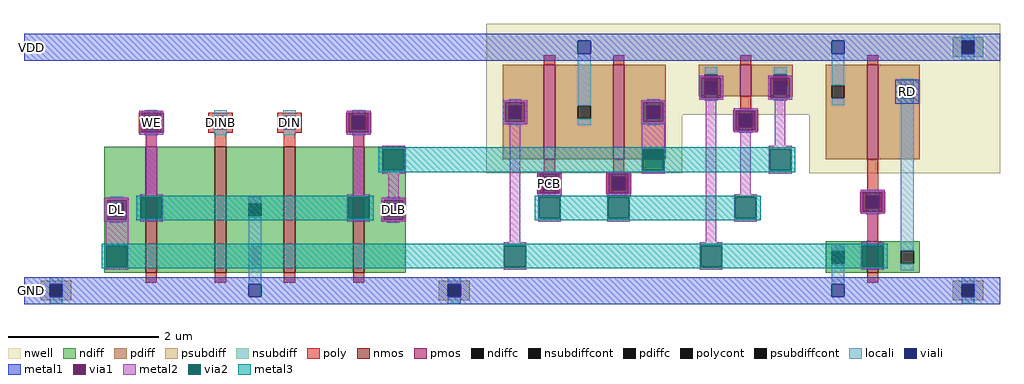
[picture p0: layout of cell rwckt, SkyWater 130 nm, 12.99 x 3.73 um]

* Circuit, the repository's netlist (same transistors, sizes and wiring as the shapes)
.subckt rwckt dl dlb we din dinb pcb rd vdd vss
XXPD1 dl pcb vdd vdd sky130_fd_pr__pfet_01v8 L=0.15 W=1.26 nf=1 m=1
XXPD2 dlb pcb vdd vdd sky130_fd_pr__pfet_01v8 L=0.15 W=1.26 nf=1 m=1
XXPE dl pcb dlb vdd sky130_fd_pr__pfet_01v8 L=0.15 W=0.42 nf=1 m=1
XXW1 dl we w1 vss sky130_fd_pr__nfet_01v8 L=0.15 W=1.68 nf=1 m=1
XXW2 w1 dinb vss vss sky130_fd_pr__nfet_01v8 L=0.15 W=1.68 nf=1 m=1
XXW3 dlb we w2 vss sky130_fd_pr__nfet_01v8 L=0.15 W=1.68 nf=1 m=1
XXW4 w2 din vss vss sky130_fd_pr__nfet_01v8 L=0.15 W=1.68 nf=1 m=1
XXSA_XP rd dl vdd vdd sky130_fd_pr__pfet_01v8 L=0.15 W=1.26 nf=1 m=1
XXSA_XN rd dl vss vss sky130_fd_pr__nfet_01v8 L=0.15 W=0.42 nf=1 m=1
.ends

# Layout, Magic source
magic
tech sky130A
magscale 1 2
<< nwell >>
rect 2428 313 2598 440
<< locali >>
rect 506 430 540 464
rect 690 430 724 464
<< viali >>
rect 1812 523 1846 557
rect 1996 523 2030 557
rect 322 430 356 464
rect 874 430 908 464
rect 1290 458 1324 492
rect 1658 458 1692 492
rect 1904 436 1938 470
rect 1382 268 1416 302
rect 1566 268 1600 302
rect 230 198 264 232
rect 966 198 1000 232
rect 2242 219 2276 253
<< metal1 >>
rect 3 631 37 665
rect 1797 566 1861 572
rect 1797 514 1803 566
rect 1855 514 1861 566
rect 1797 508 1861 514
rect 1981 566 2045 572
rect 1981 514 1987 566
rect 2039 514 2045 566
rect 1981 508 2045 514
rect 2334 512 2368 546
rect 1275 501 1339 507
rect 307 473 371 479
rect 307 421 313 473
rect 365 421 371 473
rect 307 415 371 421
rect 859 473 923 479
rect 859 421 865 473
rect 917 421 923 473
rect 1275 449 1281 501
rect 1333 449 1339 501
rect 1275 443 1339 449
rect 1643 501 1707 507
rect 1643 449 1649 501
rect 1701 449 1707 501
rect 1643 443 1707 449
rect 1889 479 1953 485
rect 1889 427 1895 479
rect 1947 427 1953 479
rect 1889 421 1953 427
rect 859 415 923 421
rect 1367 311 1431 317
rect 1367 259 1373 311
rect 1425 259 1431 311
rect 1367 253 1431 259
rect 1551 311 1615 317
rect 1551 259 1557 311
rect 1609 259 1615 311
rect 1551 253 1615 259
rect 2227 262 2291 268
rect 215 241 279 247
rect 215 189 221 241
rect 273 189 279 241
rect 215 183 279 189
rect 951 241 1015 247
rect 951 189 957 241
rect 1009 189 1015 241
rect 2227 210 2233 262
rect 2285 210 2291 262
rect 2227 204 2291 210
rect 951 183 1015 189
rect 3 -17 37 17
<< via1 >>
rect 1803 557 1855 566
rect 1803 523 1812 557
rect 1812 523 1846 557
rect 1846 523 1855 557
rect 1803 514 1855 523
rect 1987 557 2039 566
rect 1987 523 1996 557
rect 1996 523 2030 557
rect 2030 523 2039 557
rect 1987 514 2039 523
rect 313 464 365 473
rect 313 430 322 464
rect 322 430 356 464
rect 356 430 365 464
rect 313 421 365 430
rect 865 464 917 473
rect 865 430 874 464
rect 874 430 908 464
rect 908 430 917 464
rect 865 421 917 430
rect 1281 492 1333 501
rect 1281 458 1290 492
rect 1290 458 1324 492
rect 1324 458 1333 492
rect 1281 449 1333 458
rect 1649 492 1701 501
rect 1649 458 1658 492
rect 1658 458 1692 492
rect 1692 458 1701 492
rect 1649 449 1701 458
rect 1895 470 1947 479
rect 1895 436 1904 470
rect 1904 436 1938 470
rect 1938 436 1947 470
rect 1895 427 1947 436
rect 1373 302 1425 311
rect 1373 268 1382 302
rect 1382 268 1416 302
rect 1416 268 1425 302
rect 1373 259 1425 268
rect 1557 302 1609 311
rect 1557 268 1566 302
rect 1566 268 1600 302
rect 1600 268 1609 302
rect 1557 259 1609 268
rect 221 232 273 241
rect 221 198 230 232
rect 230 198 264 232
rect 264 198 273 232
rect 221 189 273 198
rect 957 232 1009 241
rect 957 198 966 232
rect 966 198 1000 232
rect 1000 198 1009 232
rect 957 189 1009 198
rect 2233 253 2285 262
rect 2233 219 2242 253
rect 2242 219 2276 253
rect 2276 219 2285 253
rect 2233 210 2285 219
<< metal2 >>
rect 1797 566 1861 572
rect 1797 514 1803 566
rect 1855 514 1861 566
rect 1797 508 1861 514
rect 1981 566 2045 572
rect 1981 514 1987 566
rect 2039 514 2045 566
rect 1981 508 2045 514
rect 1275 501 1339 507
rect 307 473 371 479
rect 307 421 313 473
rect 365 421 371 473
rect 307 415 371 421
rect 859 473 923 479
rect 859 421 865 473
rect 917 421 923 473
rect 1275 449 1281 501
rect 1333 449 1339 501
rect 1275 443 1339 449
rect 1643 501 1707 507
rect 1643 449 1649 501
rect 1701 449 1707 501
rect 1643 443 1707 449
rect 859 415 923 421
rect 325 257 353 415
rect 877 257 905 415
rect 953 376 1013 385
rect 953 320 955 376
rect 1011 320 1013 376
rect 953 311 1013 320
rect 309 248 369 257
rect 215 241 279 247
rect 215 189 221 241
rect 273 189 279 241
rect 215 183 279 189
rect 309 192 311 248
rect 367 192 369 248
rect 309 183 369 192
rect 861 248 921 257
rect 861 192 863 248
rect 919 192 921 248
rect 969 247 997 311
rect 861 183 921 192
rect 951 241 1015 247
rect 951 189 957 241
rect 1009 189 1015 241
rect 951 183 1015 189
rect 217 120 277 183
rect 1293 129 1321 443
rect 1645 376 1705 443
rect 1645 320 1647 376
rect 1703 320 1705 376
rect 1367 311 1431 317
rect 1367 259 1373 311
rect 1425 259 1431 311
rect 1367 253 1431 259
rect 1551 311 1615 317
rect 1645 311 1705 320
rect 1551 259 1557 311
rect 1609 259 1615 311
rect 1551 253 1615 259
rect 1369 248 1429 253
rect 1369 192 1371 248
rect 1427 192 1429 248
rect 1369 183 1429 192
rect 1553 248 1613 253
rect 1553 192 1555 248
rect 1611 192 1613 248
rect 1553 183 1613 192
rect 1815 129 1843 508
rect 1889 479 1953 485
rect 1889 427 1895 479
rect 1947 427 1953 479
rect 1889 421 1953 427
rect 1907 257 1935 421
rect 1999 385 2027 508
rect 1983 376 2043 385
rect 1983 320 1985 376
rect 2041 320 2043 376
rect 1983 311 2043 320
rect 2227 262 2291 268
rect 1891 248 1951 257
rect 1891 192 1893 248
rect 1949 192 1951 248
rect 2227 210 2233 262
rect 2285 210 2291 262
rect 2227 204 2291 210
rect 1891 183 1951 192
rect 2245 129 2273 204
rect 217 64 219 120
rect 275 64 277 120
rect 217 55 277 64
rect 1277 120 1337 129
rect 1277 64 1279 120
rect 1335 64 1337 120
rect 1277 55 1337 64
rect 1799 120 1859 129
rect 1799 64 1801 120
rect 1857 64 1859 120
rect 1799 55 1859 64
rect 2229 120 2289 129
rect 2229 64 2231 120
rect 2287 64 2289 120
rect 2229 55 2289 64
<< via2 >>
rect 955 320 1011 376
rect 311 192 367 248
rect 863 192 919 248
rect 1647 320 1703 376
rect 1371 192 1427 248
rect 1555 192 1611 248
rect 1985 320 2041 376
rect 1893 192 1949 248
rect 219 64 275 120
rect 1279 64 1335 120
rect 1801 64 1857 120
rect 2231 64 2287 120
<< metal3 >>
rect 943 376 2053 381
rect 943 320 955 376
rect 1011 320 1647 376
rect 1703 320 1985 376
rect 2041 320 2053 376
rect 943 315 2053 320
rect 299 248 931 253
rect 299 192 311 248
rect 367 192 863 248
rect 919 192 931 248
rect 299 187 931 192
rect 1359 248 1961 253
rect 1359 192 1371 248
rect 1427 192 1555 248
rect 1611 192 1893 248
rect 1949 192 1961 248
rect 1359 187 1961 192
rect 207 120 2299 125
rect 207 64 219 120
rect 275 64 1279 120
rect 1335 64 1801 120
rect 1857 64 2231 120
rect 2287 64 2299 120
rect 207 59 2299 64
use rw_eq  e
transform 1 0 1752 0 1 0
box 0 -36 338 710
use rw_pre  p
transform 1 0 1230 0 1 0
box 0 -36 522 710
use rw_sa  s
transform 1 0 2090 0 1 0
box 0 -36 338 710
use ptap  t
transform 1 0 0 0 1 0
box 0 -36 170 684
use ptap  t2
transform 1 0 1060 0 1 0
box 0 -36 170 684
use tap  t3
transform 1 0 2428 0 1 0
box 0 -36 170 710
use rw_wr  w
transform 1 0 170 0 1 0
box 0 -36 890 684
<< labels >>
rlabel locali 707 447 707 447 0 DIN
port 1 nsew
rlabel locali 523 447 523 447 0 DINB
port 2 nsew
rlabel metal1 2351 529 2351 529 0 RD
port 3 nsew
rlabel viali 247 215 247 215 0 DL
port 4 nsew
rlabel viali 983 215 983 215 0 DLB
port 5 nsew
rlabel viali 339 447 339 447 0 WE
port 6 nsew
rlabel viali 1399 285 1399 285 0 PCB
port 7 nsew
rlabel metal1 20 648 20 648 0 VDD
port 8 nsew
rlabel metal1 20 0 20 0 0 GND
port 9 nsew
<< end >>

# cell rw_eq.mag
magic
tech sky130A
magscale 1 2
<< nwell >>
rect 0 468 338 710
<< pmos >>
rect 154 517 184 601
<< pdiff >>
rect 44 576 154 601
rect 44 542 60 576
rect 94 542 154 576
rect 44 517 154 542
rect 184 576 294 601
rect 184 542 244 576
rect 278 542 294 576
rect 184 517 294 542
<< pdiffc >>
rect 60 542 94 576
rect 244 542 278 576
<< poly >>
rect 154 601 184 627
rect 154 480 184 517
rect 136 470 202 480
rect 136 436 152 470
rect 186 436 202 470
rect 136 426 202 436
<< polycont >>
rect 152 436 186 470
<< locali >>
rect 60 576 94 594
rect 60 505 94 542
rect 244 576 278 594
rect 244 505 278 542
rect 152 470 186 486
rect 152 420 186 436
<< metal1 >>
rect 0 612 338 684
rect 0 -36 338 36
<< labels >>
rlabel polycont 169 453 169 453 0 PCB
port 1 nsew
rlabel locali 77 540 77 540 0 DL
port 2 nsew
rlabel locali 261 540 261 540 0 DLB
port 3 nsew
rlabel metal1 20 648 20 648 0 VDD
port 4 nsew
rlabel metal1 20 0 20 0 0 GND
port 5 nsew
<< end >>

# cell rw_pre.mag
magic
tech sky130A
magscale 1 2
<< nwell >>
rect 0 313 522 710
<< pmos >>
rect 154 349 184 601
rect 338 349 368 601
<< pdiff >>
rect 44 492 154 601
rect 44 458 60 492
rect 94 458 154 492
rect 44 349 154 458
rect 184 492 338 601
rect 184 458 244 492
rect 278 458 338 492
rect 184 349 338 458
rect 368 492 478 601
rect 368 458 428 492
rect 462 458 478 492
rect 368 349 478 458
<< pdiffc >>
rect 60 458 94 492
rect 244 458 278 492
rect 428 458 462 492
<< poly >>
rect 154 601 184 627
rect 338 601 368 627
rect 154 312 184 349
rect 338 312 368 349
rect 136 302 202 312
rect 136 268 152 302
rect 186 268 202 302
rect 136 258 202 268
rect 320 302 386 312
rect 320 268 336 302
rect 370 268 386 302
rect 320 258 386 268
<< polycont >>
rect 152 268 186 302
rect 336 268 370 302
<< locali >>
rect 60 492 94 510
rect 60 440 94 458
rect 244 492 278 631
rect 244 440 278 458
rect 428 492 462 510
rect 428 440 462 458
rect 152 302 186 318
rect 152 252 186 268
rect 336 302 370 318
rect 336 252 370 268
<< viali >>
rect 244 631 278 665
<< metal1 >>
rect 0 665 522 684
rect 0 631 244 665
rect 278 631 522 665
rect 0 612 522 631
rect 0 -36 522 36
<< labels >>
rlabel polycont 169 285 169 285 0 PCB
port 1 nsew
rlabel polycont 353 285 353 285 0 PCB
port 1 nsew
rlabel pdiffc 77 475 77 475 0 DL
port 2 nsew
rlabel pdiffc 445 475 445 475 0 DLB
port 3 nsew
rlabel metal1 20 648 20 648 0 VDD
port 4 nsew
rlabel metal1 20 0 20 0 0 GND
port 5 nsew
<< end >>

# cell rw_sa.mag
magic
tech sky130A
magscale 1 2
<< nwell >>
rect 0 313 338 710
<< nmos >>
rect 154 47 184 131
<< pmos >>
rect 154 349 184 601
<< ndiff >>
rect 44 106 154 131
rect 44 72 60 106
rect 94 72 154 106
rect 44 47 154 72
rect 184 106 294 131
rect 184 72 244 106
rect 278 72 294 106
rect 184 47 294 72
<< pdiff >>
rect 44 546 154 601
rect 44 512 60 546
rect 94 512 154 546
rect 44 349 154 512
rect 184 546 294 601
rect 184 512 244 546
rect 278 512 294 546
rect 184 349 294 512
<< ndiffc >>
rect 60 72 94 106
rect 244 72 278 106
<< pdiffc >>
rect 60 512 94 546
rect 244 512 278 546
<< poly >>
rect 154 601 184 627
rect 154 263 184 349
rect 136 253 202 263
rect 136 219 152 253
rect 186 219 202 253
rect 136 209 202 219
rect 154 131 184 209
rect 154 21 184 47
<< polycont >>
rect 152 219 186 253
<< locali >>
rect 60 546 94 631
rect 60 494 94 512
rect 244 546 278 564
rect 152 253 186 269
rect 152 203 186 219
rect 60 106 94 124
rect 60 17 94 72
rect 244 106 278 512
rect 244 54 278 72
<< viali >>
rect 60 631 94 665
rect 244 512 278 546
rect 60 -17 94 17
<< metal1 >>
rect 0 665 338 684
rect 0 631 60 665
rect 94 631 338 665
rect 0 612 338 631
rect 229 546 293 561
rect 229 512 244 546
rect 278 512 293 546
rect 229 497 293 512
rect 0 17 338 36
rect 0 -17 60 17
rect 94 -17 338 17
rect 0 -36 338 -17
<< labels >>
rlabel polycont 169 236 169 236 0 A
port 1 nsew
rlabel viali 261 529 261 529 0 Y
port 2 nsew
rlabel metal1 20 648 20 648 0 VDD
port 3 nsew
rlabel metal1 20 0 20 0 0 GND
port 4 nsew
<< end >>

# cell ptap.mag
magic
tech sky130A
magscale 1 2
<< psubdiff >>
rect 44 17 126 26
rect 44 -17 68 17
rect 102 -17 126 17
rect 44 -26 126 -17
<< psubdiffcont >>
rect 68 -17 102 17
<< locali >>
rect 68 17 102 35
rect 68 -35 102 -17
<< viali >>
rect 68 -17 102 17
<< metal1 >>
rect 0 612 170 684
rect 0 17 170 36
rect 0 -17 68 17
rect 102 -17 170 17
rect 0 -36 170 -17
<< labels >>
rlabel metal1 20 648 20 648 0 VDD
port 1 nsew
rlabel metal1 20 0 20 0 0 GND
port 2 nsew
<< end >>

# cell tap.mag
magic
tech sky130A
magscale 1 2
<< nwell >>
rect 0 420 170 710
<< psubdiff >>
rect 44 17 126 26
rect 44 -17 68 17
rect 102 -17 126 17
rect 44 -26 126 -17
<< nsubdiff >>
rect 44 665 126 674
rect 44 631 68 665
rect 102 631 126 665
rect 44 622 126 631
<< psubdiffcont >>
rect 68 -17 102 17
<< nsubdiffcont >>
rect 68 631 102 665
<< locali >>
rect 68 665 102 683
rect 68 613 102 631
rect 68 17 102 35
rect 68 -35 102 -17
<< viali >>
rect 68 631 102 665
rect 68 -17 102 17
<< metal1 >>
rect 0 665 170 684
rect 0 631 68 665
rect 102 631 170 665
rect 0 612 170 631
rect 0 17 170 36
rect 0 -17 68 17
rect 102 -17 170 17
rect 0 -36 170 -17
<< labels >>
rlabel metal1 20 648 20 648 0 VDD
port 1 nsew
rlabel metal1 20 0 20 0 0 GND
port 2 nsew
<< end >>

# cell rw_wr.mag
magic
tech sky130A
magscale 1 2
<< nmos >>
rect 154 47 184 383
rect 338 47 368 383
rect 522 47 552 383
rect 706 47 736 383
<< ndiff >>
rect 44 232 154 383
rect 44 198 60 232
rect 94 198 154 232
rect 44 47 154 198
rect 184 47 338 383
rect 368 232 522 383
rect 368 198 428 232
rect 462 198 522 232
rect 368 47 522 198
rect 552 47 706 383
rect 736 232 846 383
rect 736 198 796 232
rect 830 198 846 232
rect 736 47 846 198
<< ndiffc >>
rect 60 198 94 232
rect 428 198 462 232
rect 796 198 830 232
<< poly >>
rect 136 464 202 474
rect 136 430 152 464
rect 186 430 202 464
rect 136 420 202 430
rect 320 464 386 474
rect 320 430 336 464
rect 370 430 386 464
rect 320 420 386 430
rect 504 464 570 474
rect 504 430 520 464
rect 554 430 570 464
rect 504 420 570 430
rect 688 464 754 474
rect 688 430 704 464
rect 738 430 754 464
rect 688 420 754 430
rect 154 383 184 420
rect 338 383 368 420
rect 522 383 552 420
rect 706 383 736 420
rect 154 21 184 47
rect 338 21 368 47
rect 522 21 552 47
rect 706 21 736 47
<< polycont >>
rect 152 430 186 464
rect 336 430 370 464
rect 520 430 554 464
rect 704 430 738 464
<< locali >>
rect 152 464 186 480
rect 152 414 186 430
rect 336 464 370 480
rect 336 414 370 430
rect 520 464 554 480
rect 520 414 554 430
rect 704 464 738 480
rect 704 414 738 430
rect 60 232 94 250
rect 60 180 94 198
rect 428 232 462 250
rect 428 17 462 198
rect 796 232 830 250
rect 796 180 830 198
<< viali >>
rect 428 -17 462 17
<< metal1 >>
rect 0 612 890 684
rect 0 17 890 36
rect 0 -17 428 17
rect 462 -17 890 17
rect 0 -36 890 -17
<< labels >>
rlabel polycont 169 447 169 447 0 WE
port 1 nsew
rlabel polycont 353 447 353 447 0 DINB
port 2 nsew
rlabel polycont 537 447 537 447 0 DIN
port 3 nsew
rlabel polycont 721 447 721 447 0 WE
port 1 nsew
rlabel ndiffc 77 215 77 215 0 DL
port 4 nsew
rlabel ndiffc 813 215 813 215 0 DLB
port 5 nsew
rlabel metal1 20 648 20 648 0 VDD
port 6 nsew
rlabel metal1 20 0 20 0 0 GND
port 7 nsew
<< end >>
